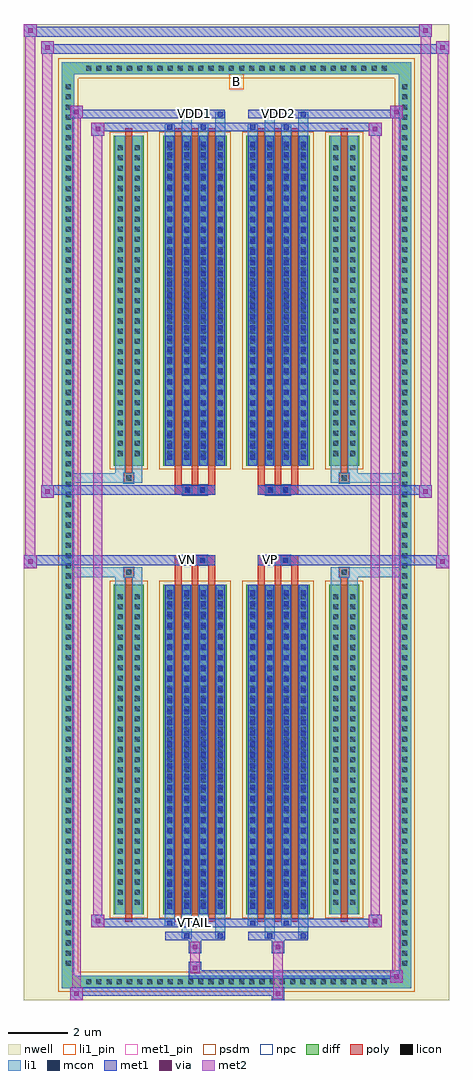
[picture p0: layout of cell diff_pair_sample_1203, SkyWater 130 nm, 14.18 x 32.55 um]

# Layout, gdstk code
import gdstk
lib = gdstk.Library(unit=1e-6, precision=5e-09)
def R(c, l, rs):  # rectangles x0, y0, x1, y1
    for r in rs: c.add(gdstk.rectangle(r[:2], r[2:], *l))
def A(c, l, x, y, w, h, nx, ny, dx, dy):  # array of equal rectangles
    R(c, l, [(x+i*dx, y+j*dy, x+i*dx+w, y+j*dy+h) for i in range(nx) for j in range(ny)])
def P(c, l, *ps):  # polygons
    for p in ps: c.add(gdstk.Polygon(p, *l))
nwell = (64, 20)
diff = (65, 20)
poly = (66, 20)
licon = (66, 44)
li1_pin = (67, 16)
li1 = (67, 20)
mcon = (67, 44)
met1_pin = (68, 16)
met1 = (68, 20)
via = (68, 44)
met2 = (69, 20)
psdm = (94, 20)
npc = (95, 20)

diff_pair_sample_1203 = lib.new_cell('diff_pair_sample_1203')
R(diff_pair_sample_1203, nwell, [(-7.09,-15.84,7.09,16.71), (-4.41,-14.03,-0.01,-0.805), (0.01,-14.03,4.41,-0.805), (-4.41,0.805,-0.01,14.03), (0.01,0.805,4.41,14.03)])
A(diff_pair_sample_1203, diff, -5.135, -15.44, 0.41, 0.41, 30, 2, 0.34, 30.47)
A(diff_pair_sample_1203, diff, -5.82, -14.825, 0.41, 0.41, 1, 87, 0, 0.34)
A(diff_pair_sample_1203, diff, 5.41, -14.825, 0.41, 0.41, 1, 87, 0, 0.34)
R(diff_pair_sample_1203, diff, [(-5.135,-15.44,5.135,-15.03), (-5.82,-14.825,-5.41,14.825), (5.41,-14.825,5.82,14.825), (-4.1,-12.985,-3.09,-1.985), (-2.45,-12.985,-0.32,-1.985), (0.32,-12.985,2.45,-1.985), (3.09,-12.985,4.1,-1.985), (-4.1,1.985,-3.09,12.985), (-2.45,1.985,-0.32,12.985), (0.32,1.985,2.45,12.985), (3.09,1.985,4.1,12.985), (-5.135,15.03,5.135,15.44)])
P(diff_pair_sample_1203, diff, [(5.82,15.44),(-5.82,15.44),(-5.82,-15.03),(-5.41,-15.03),(-5.41,15.03),(5.41,15.03),(5.41,-15.03),(-5.41,-15.03),(-5.82,-15.03),(-5.82,-15.44),(5.82,-15.44)])
A(diff_pair_sample_1203, poly, -2.06, -13.235, 0.23, 11.5, 3, 2, 0.56, 14.97)
A(diff_pair_sample_1203, poly, 0.71, -13.235, 0.23, 11.5, 3, 2, 0.56, 14.97)
A(diff_pair_sample_1203, poly, -2.06, -1.735, 0.23, 0.4, 3, 2, 0.56, 3.07)
A(diff_pair_sample_1203, poly, 0.71, -1.735, 0.23, 0.4, 3, 2, 0.56, 3.07)
R(diff_pair_sample_1203, poly, [(-3.71,-13.235,-3.48,-1.735), (3.48,-13.235,3.71,-1.735), (-3.76,-1.735,-3.43,-1.405), (-3.76,-1.735,-3.43,-1.405), (3.43,-1.735,3.76,-1.405), (3.43,-1.735,3.76,-1.405), (-2.06,-1.335,-0.71,-1.005), (-1.8,-1.335,-1.47,-1.005), (-1.3,-1.335,-0.97,-1.005), (0.71,-1.335,2.06,-1.005), (0.97,-1.335,1.3,-1.005), (1.47,-1.335,1.8,-1.005), (-2.06,1.005,-0.71,1.335), (-1.8,1.005,-1.47,1.335), (-1.3,1.005,-0.97,1.335), (0.71,1.005,2.06,1.335), (0.97,1.005,1.3,1.335), (1.47,1.005,1.8,1.335), (-3.76,1.405,-3.43,1.735), (-3.76,1.405,-3.43,1.735), (3.43,1.405,3.76,1.735), (3.43,1.405,3.76,1.735), (-3.71,1.735,-3.48,13.235), (3.48,1.735,3.71,13.235)])
A(diff_pair_sample_1203, licon, -5.015, -15.32, 0.17, 0.17, 30, 2, 0.34, 30.47)
A(diff_pair_sample_1203, licon, -5.7, -14.705, 0.17, 0.17, 1, 87, 0, 0.34)
A(diff_pair_sample_1203, licon, 5.53, -14.705, 0.17, 0.17, 1, 87, 0, 0.34)
A(diff_pair_sample_1203, licon, -3.96, -12.67, 0.17, 0.17, 1, 31, 0, 0.34)
A(diff_pair_sample_1203, licon, -3.4, -12.67, 0.17, 0.17, 1, 31, 0, 0.34)
A(diff_pair_sample_1203, licon, -2.31, -12.67, 0.17, 0.17, 4, 31, 0.56, 0.34)
A(diff_pair_sample_1203, licon, 0.46, -12.67, 0.17, 0.17, 4, 31, 0.56, 0.34)
A(diff_pair_sample_1203, licon, 3.23, -12.67, 0.17, 0.17, 1, 31, 0, 0.34)
A(diff_pair_sample_1203, licon, 3.79, -12.67, 0.17, 0.17, 1, 31, 0, 0.34)
A(diff_pair_sample_1203, licon, -3.96, 2.3, 0.17, 0.17, 1, 31, 0, 0.34)
A(diff_pair_sample_1203, licon, -3.4, 2.3, 0.17, 0.17, 1, 31, 0, 0.34)
A(diff_pair_sample_1203, licon, -2.31, 2.3, 0.17, 0.17, 4, 31, 0.56, 0.34)
A(diff_pair_sample_1203, licon, 0.46, 2.3, 0.17, 0.17, 4, 31, 0.56, 0.34)
A(diff_pair_sample_1203, licon, 3.23, 2.3, 0.17, 0.17, 1, 31, 0, 0.34)
A(diff_pair_sample_1203, licon, 3.79, 2.3, 0.17, 0.17, 1, 31, 0, 0.34)
R(diff_pair_sample_1203, licon, [(-3.68,-1.655,-3.51,-1.485), (3.51,-1.655,3.68,-1.485), (-1.72,-1.255,-1.55,-1.085), (-1.22,-1.255,-1.05,-1.085), (1.05,-1.255,1.22,-1.085), (1.55,-1.255,1.72,-1.085), (-1.72,1.085,-1.55,1.255), (-1.22,1.085,-1.05,1.255), (1.05,1.085,1.22,1.255), (1.55,1.085,1.72,1.255), (-3.68,1.485,-3.51,1.655), (3.51,1.485,3.68,1.655)])
R(diff_pair_sample_1203, li1_pin, [(-0.25,14.53,0.25,15.03)])
A(diff_pair_sample_1203, li1, -5.095, -15.4, 0.33, 0.33, 30, 2, 0.34, 30.47)
A(diff_pair_sample_1203, li1, -5.78, -14.785, 0.33, 0.33, 1, 87, 0, 0.34)
A(diff_pair_sample_1203, li1, 5.45, -14.785, 0.33, 0.33, 1, 87, 0, 0.34)
A(diff_pair_sample_1203, li1, -2.39, -12.985, 0.33, 11, 4, 2, 0.56, 14.97)
A(diff_pair_sample_1203, li1, 0.38, -12.985, 0.33, 11, 4, 2, 0.56, 14.97)
A(diff_pair_sample_1203, li1, -2.31, -12.79, 0.17, 0.17, 4, 30, 0.56, 0.36)
A(diff_pair_sample_1203, li1, -2.31, -12.79, 0.17, 10.61, 4, 2, 0.56, 14.97)
A(diff_pair_sample_1203, li1, 0.46, -12.79, 0.17, 0.17, 4, 30, 0.56, 0.36)
A(diff_pair_sample_1203, li1, 0.46, -12.79, 0.17, 10.61, 4, 2, 0.56, 14.97)
A(diff_pair_sample_1203, li1, -4.04, -12.75, 0.33, 0.33, 1, 31, 0, 0.34)
A(diff_pair_sample_1203, li1, -3.48, -12.75, 0.33, 0.33, 1, 31, 0, 0.34)
A(diff_pair_sample_1203, li1, -2.39, -12.75, 0.33, 0.33, 4, 31, 0.56, 0.34)
A(diff_pair_sample_1203, li1, 0.38, -12.75, 0.33, 0.33, 4, 31, 0.56, 0.34)
A(diff_pair_sample_1203, li1, 3.15, -12.75, 0.33, 0.33, 1, 31, 0, 0.34)
A(diff_pair_sample_1203, li1, 3.71, -12.75, 0.33, 0.33, 1, 31, 0, 0.34)
A(diff_pair_sample_1203, li1, -2.31, 2.18, 0.17, 0.17, 4, 30, 0.56, 0.36)
A(diff_pair_sample_1203, li1, 0.46, 2.18, 0.17, 0.17, 4, 30, 0.56, 0.36)
A(diff_pair_sample_1203, li1, -4.04, 2.22, 0.33, 0.33, 1, 31, 0, 0.34)
A(diff_pair_sample_1203, li1, -3.48, 2.22, 0.33, 0.33, 1, 31, 0, 0.34)
A(diff_pair_sample_1203, li1, -2.39, 2.22, 0.33, 0.33, 4, 31, 0.56, 0.34)
A(diff_pair_sample_1203, li1, 0.38, 2.22, 0.33, 0.33, 4, 31, 0.56, 0.34)
A(diff_pair_sample_1203, li1, 3.15, 2.22, 0.33, 0.33, 1, 31, 0, 0.34)
A(diff_pair_sample_1203, li1, 3.71, 2.22, 0.33, 0.33, 1, 31, 0, 0.34)
R(diff_pair_sample_1203, li1, [(-5.82,-15.44,-5.41,-15.03), (-5.82,-15.44,-5.41,-15.03), (-5.41,-15.44,5.41,-15.03), (5.41,-15.44,5.82,-15.03), (5.41,-15.44,5.82,-15.03), (-5.82,-15.03,-5.41,15.03), (5.41,-15.03,5.82,15.03), (-1.83,-13.79,-1.5,-12.985), (-1.75,-13.79,-1.58,-13.62), (-0.71,-13.79,-0.38,-12.985), (-0.63,-13.79,-0.46,-13.62), (0.94,-13.79,1.27,-12.985), (1.02,-13.79,1.19,-13.62), (2.06,-13.79,2.39,-12.985), (2.14,-13.79,2.31,-13.62), (-2.39,-13.36,-2.06,-12.985), (-2.31,-13.36,-2.14,-13.19), (-1.27,-13.36,-0.94,-12.985), (-1.19,-13.36,-1.02,-13.19), (0.38,-13.36,0.71,-12.985), (0.46,-13.36,0.63,-13.19), (1.5,-13.36,1.83,-12.985), (1.58,-13.36,1.75,-13.19), (-4.04,-12.985,-3.71,-1.985), (-3.48,-12.985,-3.15,-1.985), (3.15,-12.985,3.48,-1.985), (3.71,-12.985,4.04,-1.985), (-4.04,-1.985,-3.71,-1.405), (-3.48,-1.985,-3.15,-1.405), (3.15,-1.985,3.48,-1.405), (3.71,-1.985,4.04,-1.405), (-5.82,-1.735,-3.76,-1.405), (-4.04,-1.735,-3.76,-1.405), (-3.76,-1.735,-3.43,-1.405), (-3.43,-1.735,-3.15,-1.405), (3.15,-1.735,3.43,-1.405), (3.43,-1.735,3.76,-1.405), (3.43,-1.735,5.82,-1.405), (3.76,-1.735,4.04,-1.405), (-1.8,-1.335,-1.47,-1.005), (-1.3,-1.335,-0.97,-1.005), (0.97,-1.335,1.3,-1.005), (1.47,-1.335,1.8,-1.005), (-1.8,1.005,-1.47,1.335), (-1.3,1.005,-0.97,1.335), (0.97,1.005,1.3,1.335), (1.47,1.005,1.8,1.335), (-5.82,1.405,-3.76,1.735), (-4.04,1.405,-3.76,1.735), (-4.04,1.405,-3.71,1.985), (-3.76,1.405,-3.43,1.735), (-3.48,1.405,-3.15,1.985), (-3.43,1.405,-3.15,1.735), (3.15,1.405,3.43,1.735), (3.15,1.405,3.48,1.985), (3.43,1.405,3.76,1.735), (3.43,1.405,5.82,1.735), (3.71,1.405,4.04,1.985), (3.76,1.405,4.04,1.735), (-4.04,1.985,-3.71,12.985), (-3.48,1.985,-3.15,12.985), (3.15,1.985,3.48,12.985), (3.71,1.985,4.04,12.985), (-2.39,12.985,-2.06,13.36), (-1.83,12.985,-1.5,13.79), (-1.27,12.985,-0.94,13.36), (-0.71,12.985,-0.38,13.79), (0.38,12.985,0.71,13.36), (0.94,12.985,1.27,13.79), (1.5,12.985,1.83,13.36), (2.06,12.985,2.39,13.79), (-2.31,13.19,-2.14,13.36), (-1.19,13.19,-1.02,13.36), (0.46,13.19,0.63,13.36), (1.58,13.19,1.75,13.36), (-1.75,13.62,-1.58,13.79), (-0.63,13.62,-0.46,13.79), (1.02,13.62,1.19,13.79), (2.14,13.62,2.31,13.79), (-5.82,15.03,-5.41,15.44), (-5.82,15.03,-5.41,15.44), (-5.41,15.03,5.41,15.44), (5.41,15.03,5.82,15.44), (5.41,15.03,5.82,15.44)])
A(diff_pair_sample_1203, mcon, -2.31, -12.79, 0.17, 0.17, 4, 30, 0.56, 0.36)
A(diff_pair_sample_1203, mcon, 0.46, -12.79, 0.17, 0.17, 4, 30, 0.56, 0.36)
A(diff_pair_sample_1203, mcon, -2.31, 2.18, 0.17, 0.17, 4, 30, 0.56, 0.36)
A(diff_pair_sample_1203, mcon, 0.46, 2.18, 0.17, 0.17, 4, 30, 0.56, 0.36)
R(diff_pair_sample_1203, mcon, [(-1.75,-13.79,-1.58,-13.62), (-0.63,-13.79,-0.46,-13.62), (1.02,-13.79,1.19,-13.62), (2.14,-13.79,2.31,-13.62), (-2.31,-13.36,-2.14,-13.19), (-1.19,-13.36,-1.02,-13.19), (0.46,-13.36,0.63,-13.19), (1.58,-13.36,1.75,-13.19), (-1.72,-1.255,-1.55,-1.085), (-1.22,-1.255,-1.05,-1.085), (1.05,-1.255,1.22,-1.085), (1.55,-1.255,1.72,-1.085), (-1.72,1.085,-1.55,1.255), (-1.22,1.085,-1.05,1.255), (1.05,1.085,1.22,1.255), (1.55,1.085,1.72,1.255), (-2.31,13.19,-2.14,13.36), (-1.19,13.19,-1.02,13.36), (0.46,13.19,0.63,13.36), (1.58,13.19,1.75,13.36), (-1.75,13.62,-1.58,13.79), (-0.63,13.62,-0.46,13.79), (1.02,13.62,1.19,13.79), (2.14,13.62,2.31,13.79)])
R(diff_pair_sample_1203, met1_pin, [(-1.52,-13.4,-1.25,-13.13), (-1.77,-1.295,-1.5,-1.025), (1,-1.295,1.27,-1.025), (-1.52,13.58,-1.25,13.85), (1.25,13.58,1.52,13.85)])
A(diff_pair_sample_1203, met1, -2.37, -12.985, 0.29, 11, 4, 2, 0.56, 14.97)
A(diff_pair_sample_1203, met1, 0.4, -12.985, 0.29, 11, 4, 2, 0.56, 14.97)
A(diff_pair_sample_1203, met1, -2.37, -12.85, 0.29, 0.29, 4, 30, 0.56, 0.36)
A(diff_pair_sample_1203, met1, 0.4, -12.85, 0.29, 0.29, 4, 30, 0.56, 0.36)
A(diff_pair_sample_1203, met1, -2.37, 2.12, 0.29, 0.29, 4, 30, 0.56, 0.36)
A(diff_pair_sample_1203, met1, 0.4, 2.12, 0.29, 0.29, 4, 30, 0.56, 0.36)
R(diff_pair_sample_1203, met1, [(-5.55,-15.84,-5.12,-15.41), (1.17,-15.84,1.6,-15.41), (-5.55,-15.7,1.6,-15.41), (5.12,-15.27,5.55,-14.84), (-1.6,-15.13,5.55,-14.84), (-1.6,-14.99,-1.17,-14.56), (-1.6,-14.28,-1.17,-13.85), (1.17,-14.28,1.6,-13.85), (-2.37,-13.85,-0.4,-13.56), (-1.81,-13.85,-1.52,-13.56), (-0.69,-13.85,-0.4,-13.56), (0.4,-13.85,2.37,-13.56), (0.96,-13.85,1.25,-13.56), (2.08,-13.85,2.37,-13.56), (-4.84,-13.42,-4.41,-12.99), (-4.84,-13.42,-2.37,-13.13), (-2.37,-13.42,-2.08,-13.13), (-2.37,-13.42,-0.4,-13.13), (-1.25,-13.42,-0.96,-13.13), (-0.4,-13.42,0.4,-13.13), (0.4,-13.42,0.69,-13.13), (0.4,-13.42,2.37,-13.13), (1.52,-13.42,1.81,-13.13), (2.37,-13.42,4.84,-13.13), (4.41,-13.42,4.84,-12.99), (-7.09,-1.435,-6.66,-1.005), (6.66,-1.435,7.09,-1.005), (-7.09,-1.335,-0.71,-1.005), (-2.06,-1.335,-0.71,-1.005), (0.71,-1.335,2.06,-1.005), (0.71,-1.335,7.09,-1.005), (-1.78,-1.315,-1.49,-1.025), (-1.28,-1.315,-0.99,-1.025), (0.99,-1.315,1.28,-1.025), (1.49,-1.315,1.78,-1.025), (-6.52,0.905,-6.09,1.335), (6.09,0.905,6.52,1.335), (-6.52,1.005,-2.06,1.335), (-2.06,1.005,-0.71,1.335), (0.71,1.005,2.06,1.335), (2.06,1.005,6.52,1.335), (-1.78,1.025,-1.49,1.315), (-1.28,1.025,-0.99,1.315), (0.99,1.025,1.28,1.315), (1.49,1.025,1.78,1.315), (-4.84,12.99,-4.41,13.42), (4.41,12.99,4.84,13.42), (-4.84,13.13,-2.37,13.42), (-2.37,13.13,-2.08,13.42), (-2.37,13.13,-0.4,13.42), (-1.25,13.13,-0.96,13.42), (-0.4,13.13,0.4,13.42), (0.4,13.13,0.69,13.42), (0.4,13.13,2.37,13.42), (1.52,13.13,1.81,13.42), (2.37,13.13,4.84,13.42), (-5.55,13.56,-5.12,13.99), (-5.55,13.56,-2.37,13.85), (-2.37,13.56,-0.4,13.85), (-1.81,13.56,-1.52,13.85), (-0.69,13.56,-0.4,13.85), (0.4,13.56,2.37,13.85), (0.96,13.56,1.25,13.85), (2.08,13.56,2.37,13.85), (2.37,13.56,5.55,13.85), (5.12,13.56,5.55,13.99), (-6.52,15.71,-6.09,16.14), (-6.52,15.71,-4.41,16.04), (-4.41,15.71,4.41,16.04), (4.41,15.71,7.09,16.04), (6.66,15.71,7.09,16.14), (-7.09,16.28,-6.66,16.71), (-7.09,16.28,-4.41,16.61), (-4.41,16.28,4.41,16.61), (4.41,16.28,6.52,16.61), (6.09,16.28,6.52,16.71)])
R(diff_pair_sample_1203, via, [(-5.41,-15.7,-5.26,-15.55), (1.31,-15.7,1.46,-15.55), (5.26,-15.13,5.41,-14.98), (-1.46,-14.85,-1.31,-14.7), (-1.46,-14.14,-1.31,-13.99), (1.31,-14.14,1.46,-13.99), (-4.7,-13.28,-4.55,-13.13), (4.55,-13.28,4.7,-13.13), (-6.95,-1.295,-6.8,-1.145), (6.8,-1.295,6.95,-1.145), (-6.38,1.045,-6.23,1.195), (6.23,1.045,6.38,1.195), (-4.7,13.13,-4.55,13.28), (4.55,13.13,4.7,13.28), (-5.41,13.7,-5.26,13.85), (5.26,13.7,5.41,13.85), (-6.38,15.85,-6.23,16), (6.8,15.85,6.95,16), (-6.95,16.42,-6.8,16.57), (6.23,16.42,6.38,16.57)])
R(diff_pair_sample_1203, met2, [(-5.55,-15.84,-5.12,-15.41), (-5.48,-15.84,-5.19,13.99), (-5.19,-15.84,-5.12,-15.41), (-5.5,-15.79,-5.17,-15.46), (1.22,-15.79,1.55,-15.46), (1.22,-15.46,1.55,-14.23), (5.12,-15.27,5.55,-14.84), (5.19,-15.27,5.48,13.99), (5.48,-15.27,5.55,-14.84), (5.17,-15.22,5.5,-14.89), (-1.55,-14.94,-1.22,-14.61), (-1.55,-14.61,-1.22,-14.23), (-1.55,-14.23,-1.22,-13.9), (1.22,-14.23,1.55,-13.9), (-4.84,-13.42,-4.41,-12.99), (-4.77,-13.42,-4.48,13.42), (-4.48,-13.42,-4.41,-12.99), (4.41,-13.42,4.84,-12.99), (4.48,-13.42,4.77,13.42), (4.77,-13.42,4.84,-12.99), (-4.79,-13.37,-4.46,-13.04), (4.46,-13.37,4.79,-13.04), (-7.09,-1.435,-6.66,-1.005), (-7.04,-1.435,-6.71,16.71), (-6.71,-1.435,-6.66,-1.005), (6.66,-1.435,7.09,-1.005), (6.71,-1.435,7.04,16.14), (7.04,-1.435,7.09,-1.005), (-7.04,-1.385,-6.71,-1.055), (6.71,-1.385,7.04,-1.055), (-6.52,0.905,-6.09,1.335), (-6.47,0.905,-6.14,16.14), (-6.14,0.905,-6.09,1.335), (6.09,0.905,6.52,1.335), (6.14,0.905,6.47,16.71), (6.47,0.905,6.52,1.335), (-6.47,0.955,-6.14,1.285), (6.14,0.955,6.47,1.285), (-4.84,12.99,-4.41,13.42), (-4.48,12.99,-4.41,13.42), (4.41,12.99,4.84,13.42), (4.77,12.99,4.84,13.42), (-4.79,13.04,-4.46,13.37), (4.46,13.04,4.79,13.37), (-5.55,13.56,-5.12,13.99), (-5.19,13.56,-5.12,13.99), (5.12,13.56,5.55,13.99), (5.48,13.56,5.55,13.99), (-5.5,13.61,-5.17,13.94), (5.17,13.61,5.5,13.94), (-6.52,15.71,-6.09,16.14), (-6.14,15.71,-6.09,16.14), (6.66,15.71,7.09,16.14), (7.04,15.71,7.09,16.14), (-6.47,15.76,-6.14,16.09), (6.71,15.76,7.04,16.09), (-7.09,16.28,-6.66,16.71), (-6.71,16.28,-6.66,16.71), (6.09,16.28,6.52,16.71), (6.47,16.28,6.52,16.71), (-7.04,16.33,-6.71,16.66), (6.14,16.33,6.47,16.66)])
R(diff_pair_sample_1203, psdm, [(-4.23,-13.115,-2.96,-1.855), (-2.58,-13.115,-0.19,-1.855), (0.19,-13.115,2.58,-1.855), (2.96,-13.115,4.23,-1.855), (-4.23,1.855,-2.96,13.115), (-2.58,1.855,-0.19,13.115), (0.19,1.855,2.58,13.115), (2.96,1.855,4.23,13.115)])
P(diff_pair_sample_1203, psdm, [(5.95,15.57),(-5.95,15.57),(-5.95,-14.9),(-5.28,-14.9),(-5.28,14.9),(5.28,14.9),(5.28,-14.9),(-5.28,-14.9),(-5.95,-14.9),(-5.95,-15.57),(5.95,-15.57)])
R(diff_pair_sample_1203, npc, [(-3.78,-1.755,-3.41,-1.385), (3.41,-1.755,3.78,-1.385), (-1.82,-1.355,-1.45,-0.985), (-1.82,-1.355,-0.95,-0.985), (-1.82,-1.355,-0.95,-0.985), (-1.32,-1.355,-0.95,-0.985), (0.95,-1.355,1.32,-0.985), (0.95,-1.355,1.82,-0.985), (0.95,-1.355,1.82,-0.985), (1.45,-1.355,1.82,-0.985), (-1.82,0.985,-1.45,1.355), (-1.82,0.985,-0.95,1.355), (-1.82,0.985,-0.95,1.355), (-1.32,0.985,-0.95,1.355), (0.95,0.985,1.32,1.355), (0.95,0.985,1.82,1.355), (0.95,0.985,1.82,1.355), (1.45,0.985,1.82,1.355), (-3.78,1.385,-3.41,1.755), (3.41,1.385,3.78,1.755)])
diff_pair_sample_1203.add(gdstk.Label('VTAIL', (-1.385,-13.265), layer=68, texttype=5))
diff_pair_sample_1203.add(gdstk.Label('VN', (-1.635,-1.16), layer=68, texttype=5))
diff_pair_sample_1203.add(gdstk.Label('VP', (1.135,-1.16), layer=68, texttype=5))
diff_pair_sample_1203.add(gdstk.Label('B', (0,14.78), layer=67, texttype=5))
diff_pair_sample_1203.add(gdstk.Label('VDD2', (1.385,13.715), layer=68, texttype=5))
diff_pair_sample_1203.add(gdstk.Label('VDD1', (-1.385,13.715), layer=68, texttype=5))

lib.write_gds('diff_pair_sample_1203.gds')
